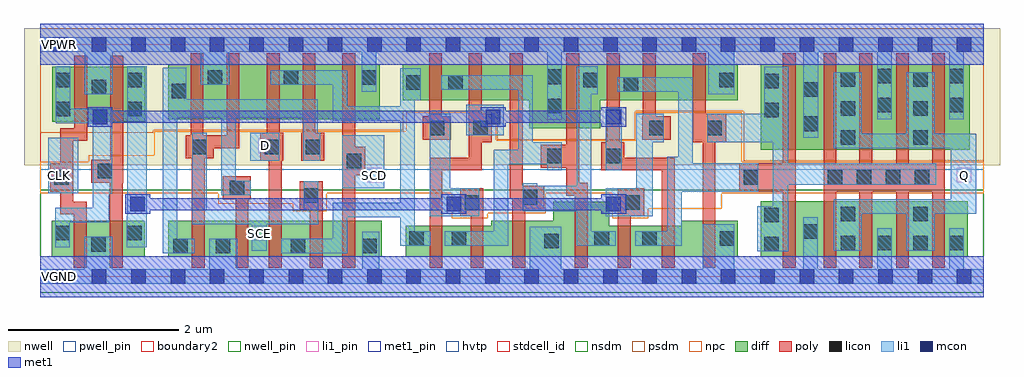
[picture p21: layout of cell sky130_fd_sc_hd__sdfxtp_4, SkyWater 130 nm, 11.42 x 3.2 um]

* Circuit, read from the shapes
.subckt sky130_fd_sc_hd__sdfxtp_4 CLK D Q SCD SCE VGND VNB VPB VPWR
XM1 VGND CLK n1 VNB sky130_fd_pr__nfet_01v8 w=0.42 l=0.15
XM2 n2 n1 VGND VNB sky130_fd_pr__nfet_01v8 w=0.42 l=0.15
XM3 VGND SCE n3 VNB sky130_fd_pr__nfet_01v8 w=0.42 l=0.15
XM4 n4 n3 VGND VNB sky130_fd_pr__nfet_01v8 w=0.42 l=0.15
XM5 n5 D n4 VNB sky130_fd_pr__nfet_01v8 w=0.42 l=0.15
XM6 n6 SCE n5 VNB sky130_fd_pr__nfet_01v8 w=0.42 l=0.15
XM7 VGND SCD n6 VNB sky130_fd_pr__nfet_01v8 w=0.42 l=0.15
XM8 n7 n1 n5 VNB sky130_fd_pr__nfet_01v8 w=0.36 l=0.15
XM9 n8 n2 n7 VNB sky130_fd_pr__nfet_01v8 w=0.36 l=0.15
XM10 VGND n9 n8 VNB sky130_fd_pr__nfet_01v8 w=0.42 l=0.15
XM11 n9 n7 VGND VNB sky130_fd_pr__nfet_01v8 w=0.64 l=0.15
XM12 n10 n2 n9 VNB sky130_fd_pr__nfet_01v8 w=0.36 l=0.15
XM13 n11 n1 n10 VNB sky130_fd_pr__nfet_01v8 w=0.36 l=0.15
XM14 VGND n12 n11 VNB sky130_fd_pr__nfet_01v8 w=0.42 l=0.15
XM15 VGND n10 n12 VNB sky130_fd_pr__nfet_01v8 w=0.65 l=0.15
XM16 Q n12 VGND VNB sky130_fd_pr__nfet_01v8 w=0.65 l=0.15 m=4
XM17 VPWR CLK n1 VPB sky130_fd_pr__pfet_01v8_hvt w=0.64 l=0.15
XM18 n2 n1 VPWR VPB sky130_fd_pr__pfet_01v8_hvt w=0.64 l=0.15
XM19 VPWR SCE n3 VPB sky130_fd_pr__pfet_01v8_hvt w=0.64 l=0.15
XM20 n13 SCE VPWR VPB sky130_fd_pr__pfet_01v8_hvt w=0.64 l=0.15
XM21 n5 D n13 VPB sky130_fd_pr__pfet_01v8_hvt w=0.64 l=0.15
XM22 n14 n3 n5 VPB sky130_fd_pr__pfet_01v8_hvt w=0.64 l=0.15
XM23 VPWR SCD n14 VPB sky130_fd_pr__pfet_01v8_hvt w=0.64 l=0.15
XM24 n7 n2 n5 VPB sky130_fd_pr__pfet_01v8_hvt w=0.42 l=0.15
XM25 n15 n1 n7 VPB sky130_fd_pr__pfet_01v8_hvt w=0.42 l=0.15
XM26 VPWR n9 n15 VPB sky130_fd_pr__pfet_01v8_hvt w=0.42 l=0.15
XM27 n9 n7 VPWR VPB sky130_fd_pr__pfet_01v8_hvt w=0.75 l=0.15
XM28 n10 n1 n9 VPB sky130_fd_pr__pfet_01v8_hvt w=0.42 l=0.15
XM29 n16 n2 n10 VPB sky130_fd_pr__pfet_01v8_hvt w=0.42 l=0.15
XM30 VPWR n12 n16 VPB sky130_fd_pr__pfet_01v8_hvt w=0.42 l=0.15
XM31 VPWR n10 n12 VPB sky130_fd_pr__pfet_01v8_hvt w=1 l=0.15
XM32 Q n12 VPWR VPB sky130_fd_pr__pfet_01v8_hvt w=1 l=0.15 m=4
.ends

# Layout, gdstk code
import gdstk
lib = gdstk.Library(unit=1e-6, precision=1e-09)
def R(c, l, rs):  # rectangles x0, y0, x1, y1
    for r in rs: c.add(gdstk.rectangle(r[:2], r[2:], *l))
def A(c, l, x, y, w, h, nx, ny, dx, dy):  # array of equal rectangles
    R(c, l, [(x+i*dx, y+j*dy, x+i*dx+w, y+j*dy+h) for i in range(nx) for j in range(ny)])
def P(c, l, *ps):  # polygons
    for p in ps: c.add(gdstk.Polygon(p, *l))
nwell_pin = (64, 16)
nwell = (64, 20)
diff = (65, 20)
poly = (66, 20)
licon = (66, 44)
li1_pin = (67, 16)
li1 = (67, 20)
mcon = (67, 44)
met1_pin = (68, 16)
met1 = (68, 20)
hvtp = (78, 44)
stdcell_id = (81, 4)
nsdm = (93, 44)
psdm = (94, 20)
npc = (95, 20)
pwell_pin = (122, 16)
boundary2 = (236, 0)

sky130_fd_sc_hd__sdfxtp_ = lib.new_cell('sky130_fd_sc_hd__sdfxtp_4')
R(sky130_fd_sc_hd__sdfxtp_, nwell_pin, [(0.145,2.635,0.315,2.805), (0.145,2.635,0.315,2.805)])
R(sky130_fd_sc_hd__sdfxtp_, nwell, [(-0.19,1.305,11.23,2.91)])
R(sky130_fd_sc_hd__sdfxtp_, diff, [(0.135,0.235,1.225,0.655), (1.495,0.235,3.995,0.655), (8.43,0.235,10.85,0.885), (8.43,1.485,10.875,2.485), (0.14,1.815,1.23,2.455), (1.5,1.845,3.97,2.485)])
P(sky130_fd_sc_hd__sdfxtp_, diff, [(8.16,2.485),(4.24,2.485),(4.24,2.065),(5.72,2.065),(5.72,1.735),(6.555,1.735),(6.555,2.065),(8.16,2.065)],
  [(8.16,0.655),(7.5,0.655),(7.5,0.595),(6.655,0.595),(6.655,0.875),(6.005,0.875),(6.005,0.655),(5.275,0.655),(5.275,0.595),(4.275,0.595),(4.275,0.235),(8.16,0.235)])
P(sky130_fd_sc_hd__sdfxtp_, poly, [(0.55,2.585),(0.4,2.585),(0.4,1.74),(0.235,1.74),(0.235,1.325),(0.115,1.325),(0.115,0.995),(0.235,0.995),(0.235,0.73),(0.395,0.73),(0.395,0.105),(0.545,0.105),(0.545,0.88),(0.385,0.88),(0.385,1.59),(0.55,1.59)],
  [(0.97,2.585),(0.82,2.585),(0.82,1.37),(0.595,1.37),(0.595,1.1),(0.815,1.1),(0.815,0.105),(0.965,0.105),(0.965,1.1),(0.97,1.1)],
  [(2.33,2.615),(2.18,2.615),(2.18,1.655),(1.91,1.655),(1.91,2.615),(1.76,2.615),(1.76,1.655),(1.7,1.655),(1.7,1.385),(1.775,1.385),(1.775,0.105),(1.925,0.105),(1.925,1.385),(2.03,1.385),(2.03,1.505),(2.33,1.505)],
  [(2.465,1.175),(2.135,1.175),(2.135,0.905),(2.285,0.905),(2.285,0.105),(2.435,0.105),(2.435,0.905),(2.465,0.905)],
  [(2.845,1.685),(2.8,1.685),(2.8,2.615),(2.65,2.615),(2.65,1.685),(2.575,1.685),(2.575,1.355),(2.675,1.355),(2.675,0.105),(2.825,0.105),(2.825,1.355),(2.845,1.355)],
  [(3.305,1.115),(3.035,1.115),(3.035,0.785),(3.155,0.785),(3.155,0.105),(3.305,0.105)],
  [(3.325,1.685),(3.22,1.685),(3.22,2.615),(3.07,2.615),(3.07,1.685),(3.055,1.685),(3.055,1.355),(3.325,1.355)],
  [(3.805,1.52),(3.685,1.52),(3.685,2.615),(3.535,2.615),(3.535,0.105),(3.685,0.105),(3.685,1.19),(3.805,1.19)],
  [(4.805,1.875),(4.7,1.875),(4.7,2.615),(4.55,2.615),(4.55,1.875),(4.475,1.875),(4.475,1.605),(4.805,1.605)],
  [(5.185,1.035),(4.915,1.035),(4.915,0.705),(5.035,0.705),(5.035,0.105),(5.185,0.105)],
  [(5.285,1.905),(5.165,1.905),(5.165,2.615),(5.015,2.615),(5.015,1.395),(4.555,1.395),(4.555,0.105),(4.705,0.105),(4.705,1.245),(5.165,1.245),(5.165,1.575),(5.285,1.575)],
  [(5.895,1.065),(5.645,1.065),(5.645,2.615),(5.495,2.615),(5.495,0.915),(5.525,0.915),(5.525,0.105),(5.675,0.105),(5.675,0.795),(5.895,0.795)],
  [(6.405,1.1),(6.305,1.1),(6.305,2.615),(6.155,2.615),(6.155,1.545),(5.855,1.545),(5.855,1.275),(6.155,1.275),(6.155,0.95),(6.255,0.95),(6.255,0.105),(6.405,0.105)],
  [(7.065,1.035),(6.76,1.035),(6.76,0.105),(6.91,0.105),(6.91,0.705),(7.065,0.705)],
  [(7.375,1.875),(7.2,1.875),(7.2,2.615),(7.05,2.615),(7.05,1.875),(7.045,1.875),(7.045,1.605),(7.375,1.605)],
  [(7.425,1.395),(6.835,1.395),(6.835,1.575),(6.78,1.575),(6.78,2.615),(6.63,2.615),(6.63,1.575),(6.565,1.575),(6.565,1.245),(7.275,1.245),(7.275,0.105),(7.425,0.105)],
  [(8.025,1.905),(7.785,1.905),(7.785,2.615),(7.635,2.615),(7.635,1.575),(7.75,1.575),(7.75,0.105),(7.9,0.105),(7.9,1.575),(8.025,1.575)],
  [(8.84,2.615),(8.69,2.615),(8.69,1.325),(8.18,1.325),(8.18,0.995),(8.69,0.995),(8.69,0.105),(8.84,0.105)],
  [(10.585,2.615),(10.435,2.615),(10.435,1.325),(10.165,1.325),(10.165,2.615),(10.015,2.615),(10.015,1.325),(9.735,1.325),(9.735,2.615),(9.585,2.615),(9.585,1.325),(9.315,1.325),(9.315,2.615),(9.165,2.615),(9.165,0.105),(9.315,0.105),(9.315,0.995),(9.585,0.995),(9.585,0.105),(9.735,0.105),(9.735,0.995),(10.015,0.995),(10.015,0.105),(10.165,0.105),(10.165,0.995),(10.435,0.995),(10.435,0.105),(10.585,0.105)])
A(sky130_fd_sc_hd__sdfxtp_, licon, 9.795, 0.31, 0.17, 0.17, 3, 1, 0.42, 0)
A(sky130_fd_sc_hd__sdfxtp_, licon, 9.215, 1.075, 0.17, 0.17, 4, 1, 0.34, 0)
A(sky130_fd_sc_hd__sdfxtp_, licon, 9.365, 1.545, 0.17, 0.17, 1, 3, 0, 0.34)
A(sky130_fd_sc_hd__sdfxtp_, licon, 10.215, 1.545, 0.17, 0.17, 1, 3, 0, 0.34)
R(sky130_fd_sc_hd__sdfxtp_, licon, [(1.555,0.275,1.725,0.445), (2.055,0.275,2.225,0.445), (2.93,0.275,3.1,0.445), (3.765,0.275,3.935,0.445), (0.595,0.295,0.765,0.465), (8.47,0.3,8.64,0.47), (9.365,0.31,9.535,0.48), (5.895,0.335,6.065,0.505), (4.315,0.365,4.485,0.535), (4.815,0.365,4.985,0.535), (6.485,0.365,6.655,0.535), (7.045,0.365,7.215,0.535), (7.95,0.365,8.12,0.535), (0.175,0.425,0.345,0.595), (1.015,0.425,1.185,0.595), (8.925,0.445,9.095,0.615), (8.47,0.64,8.64,0.81), (9.365,0.65,9.535,0.82), (10.215,0.65,10.385,0.82), (4.965,0.785,5.135,0.955), (6.845,0.785,7.015,0.955), (5.645,0.845,5.815,1.015), (3.085,0.865,3.255,1.035), (2.215,0.955,2.385,1.125), (0.165,1.075,0.335,1.245), (8.23,1.075,8.4,1.245), (0.675,1.15,0.845,1.32), (3.585,1.27,3.755,1.44), (5.935,1.325,6.105,1.495), (6.615,1.325,6.785,1.495), (1.78,1.435,1.95,1.605), (2.625,1.435,2.795,1.605), (3.105,1.435,3.275,1.605), (4.555,1.655,4.725,1.825), (5.065,1.655,5.235,1.825), (7.125,1.655,7.295,1.825), (7.805,1.655,7.975,1.825), (8.925,1.705,9.095,1.875), (8.47,1.865,8.64,2.035), (0.18,1.875,0.35,2.045), (1.02,1.875,1.19,2.045), (5.935,1.915,6.105,2.085), (9.795,1.925,9.965,2.095), (10.635,1.925,10.805,2.095), (1.54,2.09,1.71,2.26), (8.925,2.105,9.095,2.275), (0.6,2.135,0.77,2.305), (6.83,2.165,7,2.335), (4.28,2.19,4.45,2.36), (4.775,2.19,4.945,2.36), (8.47,2.205,8.64,2.375), (0.18,2.215,0.35,2.385), (1.02,2.215,1.19,2.385), (6.355,2.215,6.525,2.385), (7.945,2.215,8.115,2.385), (1.96,2.245,2.13,2.415), (2.85,2.245,3.02,2.415), (3.76,2.245,3.93,2.415), (5.935,2.255,6.105,2.425), (9.795,2.265,9.965,2.435), (10.635,2.265,10.805,2.435)])
R(sky130_fd_sc_hd__sdfxtp_, li1_pin, [(2.475,0.425,2.645,0.595), (0.145,1.105,0.315,1.275), (3.825,1.105,3.995,1.275), (10.725,1.105,10.895,1.275), (2.55,1.445,2.72,1.615)])
R(sky130_fd_sc_hd__sdfxtp_, li1, [(0.095,0.975,0.445,1.625), (3.535,1.035,4.025,1.655), (6.615,1.245,6.805,1.965), (2.46,1.355,2.795,1.685), (4.985,1.655,5.425,2.01)])
P(sky130_fd_sc_hd__sdfxtp_, li1, [(11.04,2.805),(0,2.805),(0,2.635),(0.52,2.635),(0.52,2.135),(0.85,2.135),(0.85,2.635),(1.88,2.635),(1.88,2.245),(2.21,2.245),(2.21,2.635),(3.76,2.635),(3.76,2.165),(3.93,2.165),(3.93,2.635),(5.935,2.635),(5.935,1.835),(6.105,1.835),(6.105,2.635),(7.815,2.635),(7.815,2.135),(8.12,2.135),(8.12,2.635),(8.925,2.635),(8.925,1.625),(9.105,1.625),(9.105,2.635),(9.795,2.635),(9.795,1.845),(9.965,1.845),(9.965,2.635),(10.635,2.635),(10.635,1.845),(10.805,1.845),(10.805,2.635),(11.04,2.635)],
  [(10.955,1.675),(10.465,1.675),(10.465,2.395),(10.135,2.395),(10.135,1.675),(9.615,1.675),(9.615,2.395),(9.285,2.395),(9.285,1.505),(10.655,1.505),(10.655,0.905),(9.285,0.905),(9.285,0.305),(9.615,0.305),(9.615,0.735),(10.135,0.735),(10.135,0.305),(10.465,0.305),(10.465,0.735),(10.955,0.735)],
  [(5.135,1.035),(4.795,1.035),(4.795,1.905),(4.555,1.905),(4.555,0.705),(5.135,0.705)],
  [(4.565,0.535),(4.385,0.535),(4.385,2.065),(4.45,2.065),(4.45,2.44),(4.215,2.44),(4.215,1.995),(3.59,1.995),(3.59,2.415),(2.695,2.415),(2.695,2.245),(3.42,2.245),(3.42,1.825),(4.215,1.825),(4.215,0.865),(3.425,0.865),(3.425,0.445),(2.82,0.445),(2.82,0.275),(3.595,0.275),(3.595,0.695),(4.215,0.695),(4.215,0.365),(4.565,0.365)],
  [(10.485,1.325),(8.755,1.325),(8.755,2.455),(8.47,2.455),(8.47,1.905),(7.805,1.905),(7.805,1.575),(8.57,1.575),(8.57,0.825),(8.39,0.825),(8.39,0.3),(8.75,0.3),(8.75,1.075),(10.485,1.075)],
  [(11.04,0.085),(10.805,0.085),(10.805,0.565),(10.635,0.565),(10.635,0.085),(9.965,0.085),(9.965,0.565),(9.795,0.565),(9.795,0.085),(9.095,0.085),(9.095,0.695),(8.925,0.695),(8.925,0.085),(8.12,0.085),(8.12,0.615),(7.75,0.615),(7.75,0.085),(6.095,0.085),(6.095,0.585),(5.725,0.585),(5.725,0.085),(3.965,0.085),(3.965,0.525),(3.765,0.525),(3.765,0.085),(2.305,0.085),(2.305,0.445),(1.975,0.445),(1.975,0.085),(0.845,0.085),(0.845,0.465),(0.515,0.465),(0.515,0.085),(0,0.085),(0,-0.085),(11.04,-0.085)],
  [(3.275,1.685),(3.25,1.685),(3.25,2.075),(1.71,2.075),(1.71,2.445),(1.435,2.445),(1.435,0.275),(1.805,0.275),(1.805,0.445),(1.605,0.445),(1.605,1.86),(2.12,1.86),(2.12,0.955),(2.465,0.955),(2.465,1.125),(2.29,1.125),(2.29,1.86),(3.08,1.86),(3.08,1.355),(3.275,1.355)],
  [(3.255,1.115),(3.085,1.115),(3.085,0.785),(1.95,0.785),(1.95,1.685),(1.78,1.685),(1.78,0.615),(2.475,0.615),(2.475,0.305),(2.65,0.305),(2.65,0.615),(3.255,0.615)],
  [(1.245,2.465),(1.02,2.465),(1.02,0.715),(1.015,0.715),(1.015,0.345),(1.245,0.345)],
  [(0.845,1.965),(0.35,1.965),(0.35,2.465),(0.18,2.465),(0.18,1.795),(0.615,1.795),(0.615,0.805),(0.175,0.805),(0.175,0.345),(0.345,0.345),(0.345,0.635),(0.81,0.635),(0.81,0.97),(0.845,0.97)],
  [(6.735,0.535),(6.445,0.535),(6.445,2.135),(6.525,2.135),(6.525,2.465),(6.275,2.465),(6.275,1.065),(5.815,1.065),(5.815,1.095),(5.645,1.095),(5.645,0.765),(6.275,0.765),(6.275,0.365),(6.735,0.365)],
  [(6.105,1.575),(5.765,1.575),(5.765,2.36),(4.695,2.36),(4.695,2.19),(5.595,2.19),(5.595,1.485),(5.305,1.485),(5.305,0.535),(4.735,0.535),(4.735,0.365),(5.475,0.365),(5.475,1.315),(5.935,1.315),(5.935,1.245),(6.105,1.245)],
  [(7.295,1.905),(6.975,1.905),(6.975,1.035),(6.615,1.035),(6.615,0.705),(7.165,0.705),(7.165,1.575),(7.295,1.575)],
  [(8.4,1.325),(7.635,1.325),(7.635,2.335),(6.75,2.335),(6.75,2.165),(7.465,2.165),(7.465,1.405),(7.335,1.405),(7.335,0.535),(6.965,0.535),(6.965,0.365),(7.505,0.365),(7.505,0.995),(8.4,0.995)])
A(sky130_fd_sc_hd__sdfxtp_, mcon, 0.145, -0.085, 0.17, 0.17, 24, 2, 0.46, 2.72)
R(sky130_fd_sc_hd__sdfxtp_, mcon, [(1.055,0.765,1.225,0.935), (4.755,0.765,4.925,0.935), (6.625,0.765,6.795,0.935), (0.615,1.785,0.785,1.955), (5.215,1.785,5.385,1.955), (6.625,1.785,6.795,1.955)])
R(sky130_fd_sc_hd__sdfxtp_, met1_pin, [(0.145,-0.085,0.315,0.085), (0.145,2.635,0.315,2.805)])
P(sky130_fd_sc_hd__sdfxtp_, met1, [(6.855,0.965),(6.565,0.965),(6.565,0.92),(4.985,0.92),(4.985,0.965),(4.695,0.965),(4.695,0.92),(1.285,0.92),(1.285,0.965),(0.995,0.965),(0.995,0.735),(1.285,0.735),(1.285,0.78),(4.695,0.78),(4.695,0.735),(4.985,0.735),(4.985,0.78),(6.565,0.78),(6.565,0.735),(6.855,0.735)],
  [(6.855,1.985),(6.565,1.985),(6.565,1.94),(5.445,1.94),(5.445,1.985),(5.155,1.985),(5.155,1.94),(0.845,1.94),(0.845,1.985),(0.555,1.985),(0.555,1.755),(0.845,1.755),(0.845,1.8),(5.155,1.8),(5.155,1.755),(5.445,1.755),(5.445,1.8),(6.565,1.8),(6.565,1.755),(6.855,1.755)])
R(sky130_fd_sc_hd__sdfxtp_, hvtp, [(0,1.25,11.04,2.72)])
R(sky130_fd_sc_hd__sdfxtp_, stdcell_id, [(0,0,11.04,2.72)])
R(sky130_fd_sc_hd__sdfxtp_, nsdm, [(0,-0.19,11.04,1.015)])
P(sky130_fd_sc_hd__sdfxtp_, psdm, [(11.04,2.91),(0,2.91),(0,1.685),(1.325,1.685),(1.325,1.715),(4.25,1.715),(4.25,1.935),(5.345,1.935),(5.345,1.605),(6.965,1.605),(6.965,1.935),(8.23,1.935),(8.23,1.355),(11.04,1.355)])
P(sky130_fd_sc_hd__sdfxtp_, npc, [(11.04,1.345),(8.21,1.345),(8.21,1.925),(6.975,1.925),(6.975,1.595),(5.335,1.595),(5.335,1.925),(4.28,1.925),(4.28,1.705),(1.335,1.705),(1.335,1.42),(0.565,1.42),(0.565,1.345),(0,1.345),(0,0.975),(2.085,0.975),(2.085,0.855),(2.955,0.855),(2.955,0.765),(3.355,0.765),(3.355,0.975),(4.815,0.975),(4.815,0.685),(5.235,0.685),(5.235,0.745),(5.915,0.745),(5.915,0.975),(6.695,0.975),(6.695,0.685),(7.115,0.685),(7.115,0.795),(7.975,0.795),(7.975,0.975),(11.04,0.975)])
R(sky130_fd_sc_hd__sdfxtp_, pwell_pin, [(0.145,-0.085,0.315,0.085), (0.145,-0.085,0.315,0.085)])
R(sky130_fd_sc_hd__sdfxtp_, boundary2, [(0,0,11.04,2.72)])
sky130_fd_sc_hd__sdfxtp_.add(gdstk.FlexPath([(0,2.72),(11.04,2.72)], 0.48, ends="flush", simple_path=True, layer=68, datatype=20))  # met1
sky130_fd_sc_hd__sdfxtp_.add(gdstk.FlexPath([(0,0),(11.04,0)], 0.48, ends="flush", simple_path=True, layer=68, datatype=20))  # met1
sky130_fd_sc_hd__sdfxtp_.add(gdstk.Label('VGND', (0.23,0), layer=68, texttype=5))
sky130_fd_sc_hd__sdfxtp_.add(gdstk.Label('VPWR', (0.23,2.72), layer=68, texttype=5))
sky130_fd_sc_hd__sdfxtp_.add(gdstk.Label('SCD', (3.91,1.19), layer=67, texttype=5))
sky130_fd_sc_hd__sdfxtp_.add(gdstk.Label('D', (2.64,1.53), layer=67, texttype=5))
sky130_fd_sc_hd__sdfxtp_.add(gdstk.Label('SCE', (2.56,0.51), layer=67, texttype=5))
sky130_fd_sc_hd__sdfxtp_.add(gdstk.Label('CLK', (0.23,1.19), layer=67, texttype=5))
sky130_fd_sc_hd__sdfxtp_.add(gdstk.Label('Q', (10.81,1.19), layer=67, texttype=5))
sky130_fd_sc_hd__sdfxtp_.add(gdstk.Label('VNB', (0.23,0), layer=64, texttype=59))
sky130_fd_sc_hd__sdfxtp_.add(gdstk.Label('VNB', (0.23,0), layer=64, texttype=59))
sky130_fd_sc_hd__sdfxtp_.add(gdstk.Label('VPB', (0.23,2.72), layer=64, texttype=5))
sky130_fd_sc_hd__sdfxtp_.add(gdstk.Label('VPB', (0.23,2.72), layer=64, texttype=5))
sky130_fd_sc_hd__sdfxtp_.add(gdstk.Label('sdfxtp_4', (0,0), layer=83, texttype=44))

lib.write_gds('sky130_fd_sc_hd__sdfxtp_4.gds')
